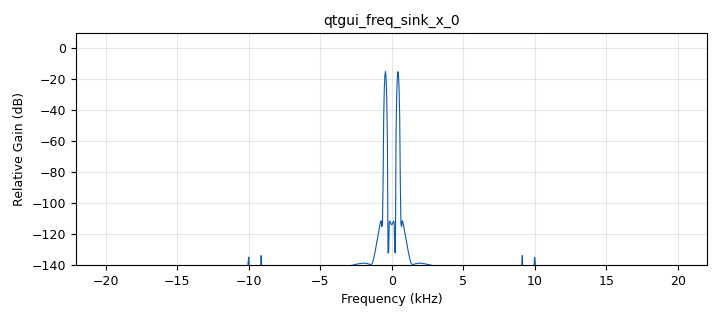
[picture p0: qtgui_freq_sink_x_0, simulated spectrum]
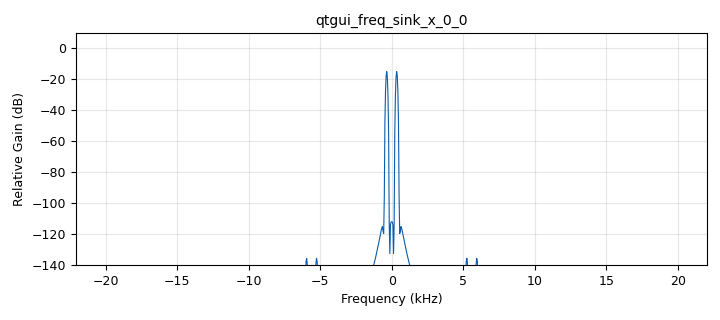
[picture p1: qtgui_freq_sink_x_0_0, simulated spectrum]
options:
  parameters:
    generate_options: qt_gui
    id: task5
    output_language: python
    title: Not titled yet
  states: {}

blocks:
- name: samp_rate
  id: variable
  parameters:
    value: '44100'
  states: {}
- name: analog_sig_source_x_0
  id: analog_sig_source_x
  parameters:
    amp: '1'
    freq: '440'
    offset: '0'
    phase: '0'
    samp_rate: samp_rate
    type: float
    waveform: analog.GR_SIN_WAVE
  states: {}
- name: analog_sig_source_x_0_0
  id: analog_sig_source_x
  parameters:
    amp: '1'
    freq: '350'
    offset: '0'
    phase: '0'
    samp_rate: samp_rate
    type: float
    waveform: analog.GR_SIN_WAVE
  states: {}
- name: audio_sink_0
  id: audio_sink
  parameters:
    num_inputs: '2'
    samp_rate: samp_rate
  states: {}
- name: qtgui_freq_sink_x_0
  id: qtgui_freq_sink_x
  parameters:
    bw: samp_rate
    fc: '0'
    fftsize: '1024'
    type: float
  states: {}
- name: qtgui_freq_sink_x_0_0
  id: qtgui_freq_sink_x
  parameters:
    bw: samp_rate
    fc: '0'
    fftsize: '1024'
    type: float
  states: {}

connections:
- [analog_sig_source_x_0, '0', audio_sink_0, '0']
- [analog_sig_source_x_0, '0', qtgui_freq_sink_x_0, '0']
- [analog_sig_source_x_0_0, '0', audio_sink_0, '1']
- [analog_sig_source_x_0_0, '0', qtgui_freq_sink_x_0_0, '0']

metadata:
  file_format: 1
  grc_version: 3.10.8.0
